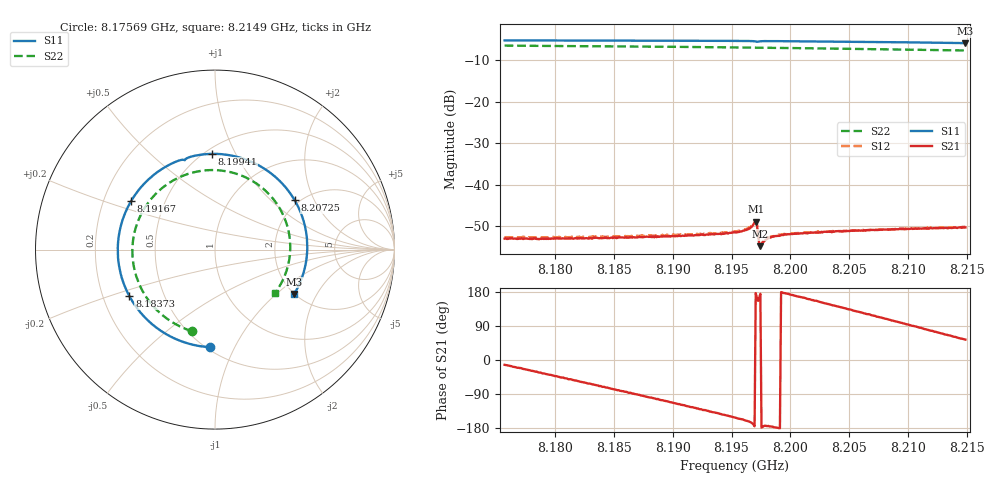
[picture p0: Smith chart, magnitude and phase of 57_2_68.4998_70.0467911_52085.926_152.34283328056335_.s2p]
#  HZ  S  RI  R  50.00
! Rohde & Schwarz Vector Network Analyzer
! Rohde-Schwarz,ZNB20-2Port,1311601062101988,3.16
! Created: UTC 3/20/2024, 5:06:14 PM
! freq[Hz]  re:S11  im:S11  re:S21  im:S21  re:S12  im:S12  re:S22  im:S22
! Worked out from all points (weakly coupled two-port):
!   401 points, 8.17569 GHz to 8.2149 GHz, reference 50 ohm
!   highest |S21| = -48.92 dB at 8.19706 GHz (marker M1); lowest = -54.8 dB at 8.19745 GHz (marker M2)
!   lowest |S11| = -5.9 dB at 8.2149 GHz (marker M3), VSWR 3.05, Z = 99.5 - j66.2 ohm
!   |S11| at or under -10 dB: nowhere
!   |S22| runs from -7.7 to -6.5 dB; largest |S21 - S12| = 0.00019
!   S11 on the Smith chart (normalised r, x): 8.17569 GHz: 0.52, -0.80; 8.18373 GHz: 0.31, -0.23; 8.19167 GHz: 0.32, +0.24; 8.19941 GHz: 0.54, +0.81; 8.20725 GHz: 1.89, +1.43; 8.2149 GHz: 1.99, -1.32
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8.175687e9  -0.0276 -0.5437  0.00219 -0.000494  0.00226 -0.000503  -0.1293 -0.454
8.178922e9  -0.2414 -0.4875  0.00183 -0.00131  0.00189 -0.00135  -0.2895 -0.368
8.182255e9  -0.42 -0.3445  0.0012 -0.00192  0.00122 -0.00198  -0.4071 -0.2242
8.183725e9  -0.4768 -0.2598  0.000815 -0.00211  0.000839 -0.00224  -0.4387 -0.1485
8.186274e9  -0.5342 -0.0926  0.000126 -0.0023  0.00014 -0.00239  -0.4607 -0.00875
8.188823e9  -0.5346 0.0846  -0.000591 -0.00228  -0.000647 -0.00238  -0.4389 0.1306
8.191666e9  -0.4672 0.2709  -0.00139 -0.00203  -0.00151 -0.00204  -0.3658 0.27
8.195293e9  -0.2907 0.4522  -0.00236 -0.00126  -0.00246 -0.00119  -0.2102 0.3974
8.196371e9  -0.2225 0.4879  -0.00275 -0.000929  -0.00286 -0.00086  -0.154 0.4204
8.196959e9  -0.18 0.5006  -0.00348 -0.000304  -0.00356 -0.000141  -0.1223 0.4297
8.197057e9  -0.1728 0.4999  -0.00357 0.00022  -0.00364 0.000355  -0.117 0.4311
8.197449e9  -0.1574 0.5088  -0.00181 0.000173  -0.00185 0.00019  -0.0955 0.4357
8.197547e9  -0.1505 0.512  -0.0019 -5.5e-05  -0.00195 6.91e-05  -0.0902 0.4367
8.198234e9  -0.1013 0.525  -0.00229 -0.000189  -0.00235 -0.000139  -0.0515 0.4417
8.19941e9  -0.0179 0.5336  -0.00247 0.000139  -0.00254 0.00025  0.0153 0.4423
8.201861e9  0.1529 0.5083  -0.00246 0.000988  -0.00246 0.0011  0.151 0.411
8.204409e9  0.3118 0.425  -0.00204 0.00183  -0.00198 0.00192  0.2754 0.3334
8.207252e9  0.4444 0.2743  -0.00125 0.00256  -0.00114 0.00264  0.3758 0.2009
8.208429e9  0.4805 0.1988  -0.000817 0.00277  -0.000742 0.00281  0.4013 0.1358
8.211565e9  0.5129 -0.0213  0.000479 0.00293  0.000561 0.00294  0.4141 -0.0525
8.213134e9  0.4925 -0.1319  0.00115 0.00279  0.00121 0.00278  0.3885 -0.1455
8.214898e9  0.4409 -0.2476  0.0018 0.00247  0.00188 0.00248  0.3342 -0.2419
